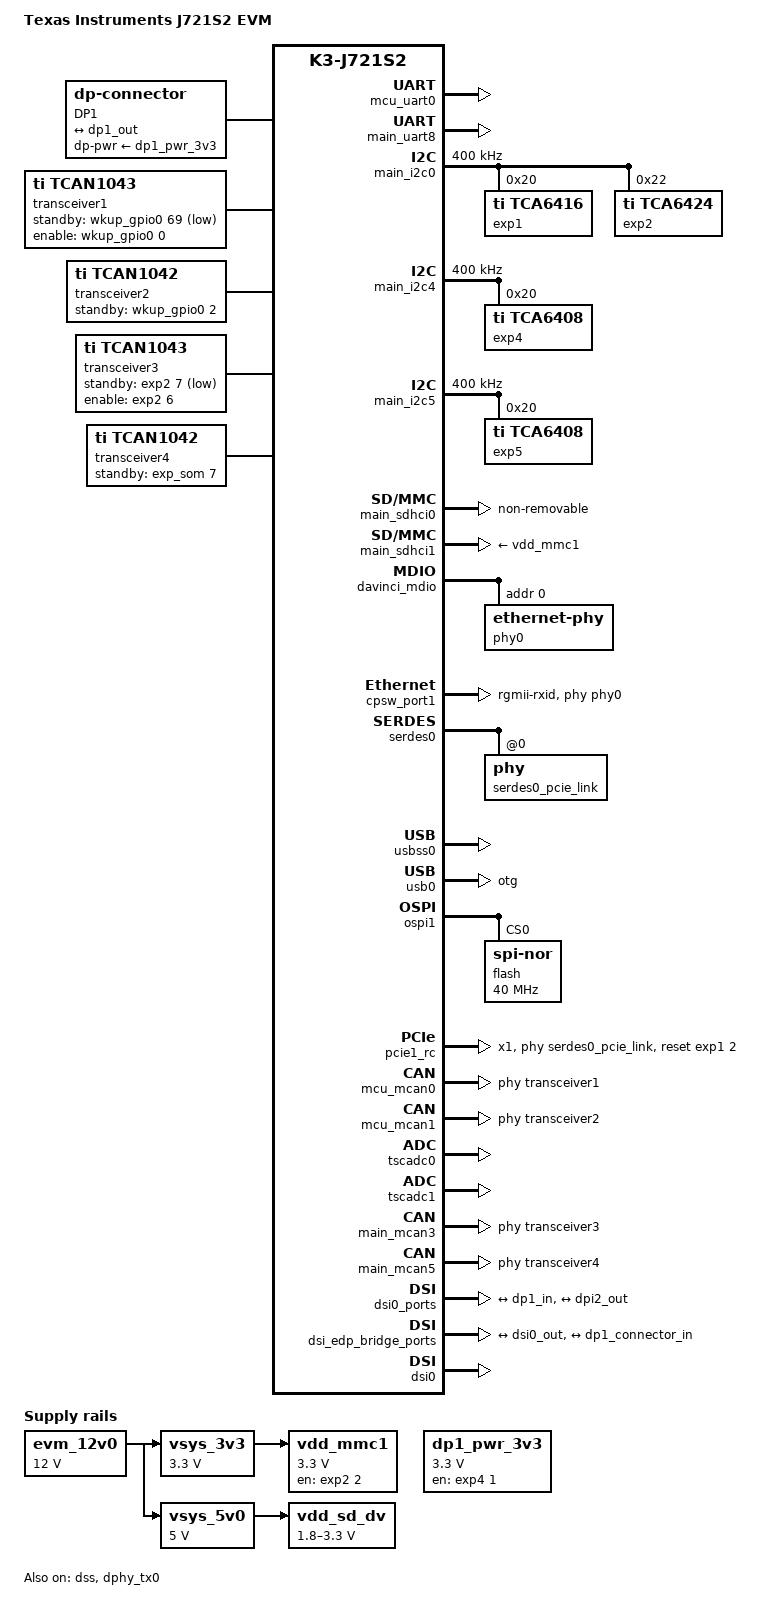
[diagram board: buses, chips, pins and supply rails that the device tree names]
// SPDX-License-Identifier: GPL-2.0-only OR MIT
/*
 * Copyright (C) 2021-2024 Texas Instruments Incorporated - https://www.ti.com/
 *
 * Common Processor Board: https://www.ti.com/tool/J721EXCPXEVM
 */

/dts-v1/;

#include "k3-j721s2-som-p0.dtsi"
#include <dt-bindings/net/ti-dp83867.h>
#include <dt-bindings/phy/phy-cadence.h>
#include <dt-bindings/phy/phy.h>

#include "k3-serdes.h"

/ {
	compatible = "ti,j721s2-evm", "ti,j721s2";
	model = "Texas Instruments J721S2 EVM";

	chosen {
		stdout-path = "serial2:115200n8";
	};

	aliases {
		serial1 = &mcu_uart0;
		serial2 = &main_uart8;
		mmc0 = &main_sdhci0;
		mmc1 = &main_sdhci1;
		can0 = &main_mcan16;
		can1 = &mcu_mcan0;
		can2 = &mcu_mcan1;
		can3 = &main_mcan3;
		can4 = &main_mcan5;
	};

	evm_12v0: fixedregulator-evm12v0 {
		/* main supply */
		compatible = "regulator-fixed";
		regulator-name = "evm_12v0";
		regulator-min-microvolt = <12000000>;
		regulator-max-microvolt = <12000000>;
		regulator-always-on;
		regulator-boot-on;
	};

	vsys_3v3: fixedregulator-vsys3v3 {
		/* Output of LM5140 */
		compatible = "regulator-fixed";
		regulator-name = "vsys_3v3";
		regulator-min-microvolt = <3300000>;
		regulator-max-microvolt = <3300000>;
		vin-supply = <&evm_12v0>;
		regulator-always-on;
		regulator-boot-on;
	};

	vsys_5v0: fixedregulator-vsys5v0 {
		/* Output of LM5140 */
		compatible = "regulator-fixed";
		regulator-name = "vsys_5v0";
		regulator-min-microvolt = <5000000>;
		regulator-max-microvolt = <5000000>;
		vin-supply = <&evm_12v0>;
		regulator-always-on;
		regulator-boot-on;
	};

	vdd_mmc1: fixedregulator-sd {
		/* Output of TPS22918 */
		compatible = "regulator-fixed";
		regulator-name = "vdd_mmc1";
		regulator-min-microvolt = <3300000>;
		regulator-max-microvolt = <3300000>;
		regulator-boot-on;
		enable-active-high;
		vin-supply = <&vsys_3v3>;
		gpio = <&exp2 2 GPIO_ACTIVE_HIGH>;
	};

	vdd_sd_dv: gpio-regulator-TLV71033 {
		/* Output of TLV71033 */
		compatible = "regulator-gpio";
		regulator-name = "tlv71033";
		pinctrl-names = "default";
		pinctrl-0 = <&vdd_sd_dv_pins_default>;
		regulator-min-microvolt = <1800000>;
		regulator-max-microvolt = <3300000>;
		regulator-boot-on;
		vin-supply = <&vsys_5v0>;
		gpios = <&main_gpio0 8 GPIO_ACTIVE_HIGH>;
		states = <1800000 0x0>,
			 <3300000 0x1>;
	};

	dp1_pwr_3v3: regulator-dp1-prw {
		compatible = "regulator-fixed";
		regulator-name = "dp1-pwr";
		regulator-min-microvolt = <3300000>;
		regulator-max-microvolt = <3300000>;
		gpio = <&exp4 1 GPIO_ACTIVE_HIGH>; /* P1 - DP1_PWR_SW_EN */
		enable-active-high;
	};

	dp1: connector-dp1 {
		compatible = "dp-connector";
		label = "DP1";
		type = "full-size";
		dp-pwr-supply = <&dp1_pwr_3v3>;

		port {
			dp1_connector_in: endpoint {
				remote-endpoint = <&dp1_out>;
			};
		};
	};

	transceiver1: can-phy1 {
		compatible = "ti,tcan1043";
		#phy-cells = <0>;
		max-bitrate = <5000000>;
		pinctrl-names = "default";
		pinctrl-0 = <&mcu_mcan0_gpio_pins_default>;
		standby-gpios = <&wkup_gpio0 69 GPIO_ACTIVE_LOW>;
		enable-gpios = <&wkup_gpio0 0 GPIO_ACTIVE_HIGH>;
	};

	transceiver2: can-phy2 {
		compatible = "ti,tcan1042";
		#phy-cells = <0>;
		max-bitrate = <5000000>;
		pinctrl-names = "default";
		pinctrl-0 = <&mcu_mcan1_gpio_pins_default>;
		standby-gpios = <&wkup_gpio0 2 GPIO_ACTIVE_HIGH>;
	};

	transceiver3: can-phy3 {
		compatible = "ti,tcan1043";
		#phy-cells = <0>;
		max-bitrate = <5000000>;
		standby-gpios = <&exp2 7 GPIO_ACTIVE_LOW>;
		enable-gpios = <&exp2 6 GPIO_ACTIVE_HIGH>;
		mux-states = <&mux0 1>;
	};

	transceiver4: can-phy4 {
		compatible = "ti,tcan1042";
		#phy-cells = <0>;
		max-bitrate = <5000000>;
		standby-gpios = <&exp_som 7 GPIO_ACTIVE_HIGH>;
		mux-states = <&mux1 1>;
	};
};

&main_pmx0 {
	main_uart8_pins_default: main-uart8-default-pins {
		pinctrl-single,pins = <
			J721S2_IOPAD(0x040, PIN_INPUT, 14) /* (AC28) MCASP0_AXR0.UART8_CTSn */
			J721S2_IOPAD(0x044, PIN_OUTPUT, 14) /* (Y26) MCASP0_AXR1.UART8_RTSn */
			J721S2_IOPAD(0x0d0, PIN_INPUT, 11) /* (AF26) SPI0_CS1.UART8_RXD */
			J721S2_IOPAD(0x0d4, PIN_OUTPUT, 11) /* (AH27) SPI0_CLK.UART8_TXD */
		>;
		bootph-all;
	};

	main_i2c3_pins_default: main-i2c3-default-pins {
		pinctrl-single,pins = <
			J721S2_IOPAD(0x064, PIN_INPUT_PULLUP, 13) /* (W28) MCAN0_TX.I2C3_SCL */
			J721S2_IOPAD(0x060, PIN_INPUT_PULLUP, 13) /* (AC27) MCASP2_AXR1.I2C3_SDA */
		>;
	};

	main_i2c4_pins_default: main-i2c4-default-pins {
		pinctrl-single,pins = <
			J721S2_IOPAD(0x014, PIN_INPUT_PULLUP, 8) /* (AD25) I2C4_SCL */
			J721S2_IOPAD(0x010, PIN_INPUT_PULLUP, 8) /* (AF28) I2C4_SDA */
		>;
	};

	main_i2c5_pins_default: main-i2c5-default-pins {
		pinctrl-single,pins = <
			J721S2_IOPAD(0x01c, PIN_INPUT, 8) /* (Y24) MCAN15_TX.I2C5_SCL */
			J721S2_IOPAD(0x018, PIN_INPUT, 8) /* (W23) MCAN14_RX.I2C5_SDA */
		>;
	};

	main_mmc1_pins_default: main-mmc1-default-pins {
		pinctrl-single,pins = <
			J721S2_IOPAD(0x104, PIN_INPUT, 0) /* (P23) MMC1_CLK */
			J721S2_IOPAD(0x108, PIN_INPUT, 0) /* (N24) MMC1_CMD */
			J721S2_IOPAD(0x100, PIN_INPUT, 0) /* (###) MMC1_CLKLB */
			J721S2_IOPAD(0x0fc, PIN_INPUT, 0) /* (M23) MMC1_DAT0 */
			J721S2_IOPAD(0x0f8, PIN_INPUT, 0) /* (P24) MMC1_DAT1 */
			J721S2_IOPAD(0x0f4, PIN_INPUT, 0) /* (R24) MMC1_DAT2 */
			J721S2_IOPAD(0x0f0, PIN_INPUT, 0) /* (R22) MMC1_DAT3 */
			J721S2_IOPAD(0x0e8, PIN_INPUT, 8) /* (AE25) TIMER_IO0.MMC1_SDCD */
		>;
		bootph-all;
	};

	vdd_sd_dv_pins_default: vdd-sd-dv-default-pins {
		pinctrl-single,pins = <
			J721S2_IOPAD(0x020, PIN_INPUT, 7) /* (AA23) MCAN15_RX.GPIO0_8 */
		>;
	};

	main_usbss0_pins_default: main-usbss0-default-pins {
		pinctrl-single,pins = <
			J721S2_IOPAD(0x0ec, PIN_OUTPUT, 6) /* (AG25) TIMER_IO1.USB0_DRVVBUS */
		>;
		bootph-all;
	};

	main_mcan3_pins_default: main-mcan3-default-pins {
		pinctrl-single,pins = <
			J721S2_IOPAD(0x080, PIN_INPUT, 0) /* (U26) MCASP0_AXR4.MCAN3_RX */
			J721S2_IOPAD(0x07c, PIN_OUTPUT, 0) /* (T27) MCASP0_AXR3.MCAN3_TX */
		>;
	};

	main_mcan5_pins_default: main-mcan5-default-pins {
		pinctrl-single,pins = <
			J721S2_IOPAD(0x03c, PIN_INPUT, 0) /* (U27) MCASP0_AFSX.MCAN5_RX */
			J721S2_IOPAD(0x038, PIN_OUTPUT, 0) /* (AB28) MCASP0_ACLKX.MCAN5_TX */
		>;
	};
};

&wkup_pmx2 {
	wkup_uart0_pins_default: wkup-uart0-default-pins {
		pinctrl-single,pins = <
			J721S2_WKUP_IOPAD(0x048, PIN_INPUT, 0) /* (D28) WKUP_UART0_RXD */
			J721S2_WKUP_IOPAD(0x04c, PIN_OUTPUT, 0) /* (D27) WKUP_UART0_TXD */
		>;
		bootph-all;
	};

	mcu_uart0_pins_default: mcu-uart0-default-pins {
		pinctrl-single,pins = <
			J721S2_WKUP_IOPAD(0x090, PIN_INPUT, 0) /* (B24) WKUP_GPIO0_14.MCU_UART0_CTSn */
			J721S2_WKUP_IOPAD(0x094, PIN_OUTPUT, 0) /* (D25) WKUP_GPIO0_15.MCU_UART0_RTSn */
			J721S2_WKUP_IOPAD(0x08c, PIN_INPUT, 0) /* (C24) WKUP_GPIO0_13.MCU_UART0_RXD */
			J721S2_WKUP_IOPAD(0x088, PIN_OUTPUT, 0) /* (C25) WKUP_GPIO0_12.MCU_UART0_TXD */
		>;
		bootph-all;
	};

	mcu_cpsw_pins_default: mcu-cpsw-default-pins {
		pinctrl-single,pins = <
			J721S2_WKUP_IOPAD(0x02c, PIN_INPUT, 0) /* (B22) MCU_RGMII1_RD0 */
			J721S2_WKUP_IOPAD(0x028, PIN_INPUT, 0) /* (B21) MCU_RGMII1_RD1 */
			J721S2_WKUP_IOPAD(0x024, PIN_INPUT, 0) /* (C22) MCU_RGMII1_RD2 */
			J721S2_WKUP_IOPAD(0x020, PIN_INPUT, 0) /* (D23) MCU_RGMII1_RD3 */
			J721S2_WKUP_IOPAD(0x01c, PIN_INPUT, 0) /* (D22) MCU_RGMII1_RXC */
			J721S2_WKUP_IOPAD(0x004, PIN_INPUT, 0) /* (E23) MCU_RGMII1_RX_CTL */
			J721S2_WKUP_IOPAD(0x014, PIN_OUTPUT, 0) /* (F23) MCU_RGMII1_TD0 */
			J721S2_WKUP_IOPAD(0x010, PIN_OUTPUT, 0) /* (G22) MCU_RGMII1_TD1 */
			J721S2_WKUP_IOPAD(0x00c, PIN_OUTPUT, 0) /* (E21) MCU_RGMII1_TD2 */
			J721S2_WKUP_IOPAD(0x008, PIN_OUTPUT, 0) /* (E22) MCU_RGMII1_TD3 */
			J721S2_WKUP_IOPAD(0x018, PIN_OUTPUT, 0) /* (F21) MCU_RGMII1_TXC */
			J721S2_WKUP_IOPAD(0x000, PIN_OUTPUT, 0) /* (F22) MCU_RGMII1_TX_CTL */
		>;
	};

	mcu_mdio_pins_default: mcu-mdio-default-pins {
		pinctrl-single,pins = <
			J721S2_WKUP_IOPAD(0x034, PIN_OUTPUT, 0) /* (A21) MCU_MDIO0_MDC */
			J721S2_WKUP_IOPAD(0x030, PIN_INPUT, 0) /* (A22) MCU_MDIO0_MDIO */
		>;
	};

	mcu_mcan0_pins_default: mcu-mcan0-default-pins {
		pinctrl-single,pins = <
			J721S2_WKUP_IOPAD(0x054, PIN_INPUT, 0) /* (E28) MCU_MCAN0_RX */
			J721S2_WKUP_IOPAD(0x050, PIN_OUTPUT, 0) /* (E27) MCU_MCAN0_TX */
		>;
	};

	mcu_mcan1_pins_default: mcu-mcan1-default-pins {
		pinctrl-single,pins = <
			J721S2_WKUP_IOPAD(0x06c, PIN_INPUT, 0) /* (F26) WKUP_GPIO0_5.MCU_MCAN1_RX */
			J721S2_WKUP_IOPAD(0x068, PIN_OUTPUT, 0) /*(C23) WKUP_GPIO0_4.MCU_MCAN1_TX */
		>;
	};

	mcu_mcan0_gpio_pins_default: mcu-mcan0-gpio-default-pins {
		pinctrl-single,pins = <
			J721S2_WKUP_IOPAD(0x058, PIN_INPUT, 7) /* (D26) WKUP_GPIO0_0 */
			J721S2_WKUP_IOPAD(0x040, PIN_INPUT, 7) /* (B25) MCU_SPI0_D1.WKUP_GPIO0_69 */
		>;
	};

	mcu_mcan1_gpio_pins_default: mcu-mcan1-gpio-default-pins {
		pinctrl-single,pins = <
			J721S2_WKUP_IOPAD(0x060, PIN_INPUT, 7) /* (C28) WKUP_GPIO0_2 */
		>;
	};

	mcu_adc0_pins_default: mcu-adc0-default-pins {
		pinctrl-single,pins = <
			J721S2_WKUP_IOPAD(0x0cc, PIN_INPUT, 0) /* (L25) MCU_ADC0_AIN0 */
			J721S2_WKUP_IOPAD(0x0d0, PIN_INPUT, 0) /* (K25) MCU_ADC0_AIN1 */
			J721S2_WKUP_IOPAD(0x0d4, PIN_INPUT, 0) /* (M24) MCU_ADC0_AIN2 */
			J721S2_WKUP_IOPAD(0x0d8, PIN_INPUT, 0) /* (L24) MCU_ADC0_AIN3 */
			J721S2_WKUP_IOPAD(0x0dc, PIN_INPUT, 0) /* (L27) MCU_ADC0_AIN4 */
			J721S2_WKUP_IOPAD(0x0e0, PIN_INPUT, 0) /* (K24) MCU_ADC0_AIN5 */
			J721S2_WKUP_IOPAD(0x0e4, PIN_INPUT, 0) /* (M27) MCU_ADC0_AIN6 */
			J721S2_WKUP_IOPAD(0x0e8, PIN_INPUT, 0) /* (M26) MCU_ADC0_AIN7 */
		>;
	};

	mcu_adc1_pins_default: mcu-adc1-default-pins {
		pinctrl-single,pins = <
			J721S2_WKUP_IOPAD(0x0ec, PIN_INPUT, 0) /* (P25) MCU_ADC1_AIN0 */
			J721S2_WKUP_IOPAD(0x0f0, PIN_INPUT, 0) /* (R25) MCU_ADC1_AIN1 */
			J721S2_WKUP_IOPAD(0x0f4, PIN_INPUT, 0) /* (P28) MCU_ADC1_AIN2 */
			J721S2_WKUP_IOPAD(0x0f8, PIN_INPUT, 0) /* (P27) MCU_ADC1_AIN3 */
			J721S2_WKUP_IOPAD(0x0fc, PIN_INPUT, 0) /* (N25) MCU_ADC1_AIN4 */
			J721S2_WKUP_IOPAD(0x100, PIN_INPUT, 0) /* (P26) MCU_ADC1_AIN5 */
			J721S2_WKUP_IOPAD(0x104, PIN_INPUT, 0) /* (N26) MCU_ADC1_AIN6 */
			J721S2_WKUP_IOPAD(0x108, PIN_INPUT, 0) /* (N27) MCU_ADC1_AIN7 */
		>;
	};
};

&wkup_pmx1 {
	mcu_fss0_ospi1_pins_default: mcu-fss0-ospi1-default-pins {
		pinctrl-single,pins = <
			J721S2_WKUP_IOPAD(0x008, PIN_OUTPUT, 0) /* (A19) MCU_OSPI1_CLK */
			J721S2_WKUP_IOPAD(0x024, PIN_OUTPUT, 0) /* (D20) MCU_OSPI1_CSn0 */
			J721S2_WKUP_IOPAD(0x014, PIN_INPUT, 0) /* (D21) MCU_OSPI1_D0 */
			J721S2_WKUP_IOPAD(0x018, PIN_INPUT, 0) /* (G20) MCU_OSPI1_D1 */
			J721S2_WKUP_IOPAD(0x01c, PIN_INPUT, 0) /* (C20) MCU_OSPI1_D2 */
			J721S2_WKUP_IOPAD(0x020, PIN_INPUT, 0) /* (A20) MCU_OSPI1_D3 */
			J721S2_WKUP_IOPAD(0x010, PIN_INPUT, 0) /* (B19) MCU_OSPI1_DQS */
			J721S2_WKUP_IOPAD(0x00c, PIN_INPUT, 0) /* (B20) MCU_OSPI1_LBCLKO */
		>;
		bootph-all;
	};
};

&main_gpio0 {
	status = "okay";
};

&wkup_gpio0 {
	status = "okay";
};

&wkup_uart0 {
	status = "reserved";
	pinctrl-names = "default";
	pinctrl-0 = <&wkup_uart0_pins_default>;
	bootph-all;
};

&mcu_uart0 {
	status = "okay";
	pinctrl-names = "default";
	pinctrl-0 = <&mcu_uart0_pins_default>;
	bootph-all;
};

&main_uart8 {
	status = "okay";
	pinctrl-names = "default";
	pinctrl-0 = <&main_uart8_pins_default>;
	/* Shared with TFA on this platform */
	power-domains = <&k3_pds 357 TI_SCI_PD_SHARED>;
	bootph-all;
};

&main_i2c0 {
	clock-frequency = <400000>;

	exp1: gpio@20 {
		compatible = "ti,tca6416";
		reg = <0x20>;
		gpio-controller;
		#gpio-cells = <2>;
		gpio-line-names = "PCIE_2L_MODE_SEL", "PCIE_2L_PERSTZ", "PCIE_2L_RC_RSTZ",
				  "PCIE_2L_EP_RST_EN", "PCIE_1L_MODE_SEL", "PCIE_1L_PERSTZ",
				  "PCIE_1L_RC_RSTZ", "PCIE_1L_EP_RST_EN", "PCIE_2L_PRSNT#",
				  "PCIE_1L_PRSNT#", "CDCI1_OE1/OE4", "CDCI1_OE2/OE3", "EXP_MUX1",
				  "EXP_MUX2", "EXP_MUX3", "GESI_EXP_PHY_RSTz";
	};

	exp2: gpio@22 {
		compatible = "ti,tca6424";
		reg = <0x22>;
		gpio-controller;
		#gpio-cells = <2>;
		gpio-line-names = "APPLE_AUTH_RSTZ", "MLB_RSTZ", "GPIO_USD_PWR_EN", "USBC_PWR_EN",
				  "USBC_MODE_SEL1", "USBC_MODE_SEL0", "MCAN0_EN", "MCAN0_STB#",
				  "MUX_SPAREMUX_SPARE", "MCASP/TRACE_MUX_S0", "MCASP/TRACE_MUX_S1",
				  "MLB_MUX_SEL", "MCAN_MUX_SEL", "MCASP2/SPI3_MUX_SEL", "PCIe_CLKREQn_MUX_SEL",
				  "CDCI2_RSTZ", "ENET_EXP_PWRDN", "ENET_EXP_RESETZ", "ENET_I2CMUX_SEL",
				  "ENET_EXP_SPARE2", "M2PCIE_RTSZ", "USER_INPUT1", "USER_LED1", "USER_LED2";
	};
};

&main_i2c4 {
	status = "okay";
	pinctrl-names = "default";
	pinctrl-0 = <&main_i2c4_pins_default>;
	clock-frequency = <400000>;

	exp4: gpio@20 {
		compatible = "ti,tca6408";
		reg = <0x20>;
		gpio-controller;
		#gpio-cells = <2>;
		gpio-line-names = "DP0_PWR_SW_EN", "DP1_PWR_SW_EN", "UB981_PDB",
				  "UB981_GPIO0", "UB981_GPIO1", "UB981_GPIO2",
				  "UB981_GPIO3", "PWR_SW_CNTL_DSI0#";
	};
};

&main_i2c5 {
	pinctrl-names = "default";
	pinctrl-0 = <&main_i2c5_pins_default>;
	clock-frequency = <400000>;
	status = "okay";

	exp5: gpio@20 {
		compatible = "ti,tca6408";
		reg = <0x20>;
		gpio-controller;
		#gpio-cells = <2>;
		gpio-line-names = "CSI2_EXP_RSTZ", "CSI2_EXP_A_GPIO0",
				  "CSI2_EXP_A_GPIO1", "CSI2_EXP_A_GPIO2",
				  "CSI2_EXP_B_GPIO1", "CSI2_EXP_B_GPIO2",
				  "CSI2_EXP_B_GPIO3", "CSI2_EXP_B_GPIO4";
	};
};

&main_sdhci0 {
	/* eMMC */
	status = "okay";
	non-removable;
	bootph-all;
	ti,driver-strength-ohm = <50>;
	disable-wp;
};

&main_sdhci1 {
	/* SD card */
	status = "okay";
	pinctrl-0 = <&main_mmc1_pins_default>;
	pinctrl-names = "default";
	disable-wp;
	vmmc-supply = <&vdd_mmc1>;
	vqmmc-supply = <&vdd_sd_dv>;
	bootph-all;
};

&mcu_cpsw {
	pinctrl-names = "default";
	pinctrl-0 = <&mcu_cpsw_pins_default>, <&mcu_mdio_pins_default>;
};

&davinci_mdio {
	phy0: ethernet-phy@0 {
		reg = <0>;
		ti,rx-internal-delay = <DP83867_RGMIIDCTL_2_00_NS>;
		ti,fifo-depth = <DP83867_PHYCR_FIFO_DEPTH_4_B_NIB>;
		ti,min-output-impedance;
	};
};

&cpsw_port1 {
	phy-mode = "rgmii-rxid";
	phy-handle = <&phy0>;
};

&serdes_ln_ctrl {
	idle-states = <J721S2_SERDES0_LANE0_PCIE1_LANE0>, <J721S2_SERDES0_LANE1_USB>,
		      <J721S2_SERDES0_LANE2_EDP_LANE2>, <J721S2_SERDES0_LANE3_EDP_LANE3>;
};

&serdes_refclk {
	clock-frequency = <100000000>;
};

&serdes0 {
	status = "okay";
	serdes0_pcie_link: phy@0 {
		reg = <0>;
		cdns,num-lanes = <1>;
		#phy-cells = <0>;
		cdns,phy-type = <PHY_TYPE_PCIE>;
		resets = <&serdes_wiz0 1>;
	};
};

&usb_serdes_mux {
	idle-states = <1>; /* USB0 to SERDES lane 1 */
};

&usbss0 {
	status = "okay";
	pinctrl-0 = <&main_usbss0_pins_default>;
	pinctrl-names = "default";
	bootph-all;
	ti,vbus-divider;
	ti,usb2-only;
};

&usb0 {
	dr_mode = "otg";
	maximum-speed = "high-speed";
	bootph-all;
};

&ospi1 {
	status = "okay";
	pinctrl-names = "default";
	pinctrl-0 = <&mcu_fss0_ospi1_pins_default>;

	flash@0 {
		compatible = "jedec,spi-nor";
		reg = <0x0>;
		spi-tx-bus-width = <1>;
		spi-rx-bus-width = <4>;
		spi-max-frequency = <40000000>;
		bootph-all;
		cdns,tshsl-ns = <60>;
		cdns,tsd2d-ns = <60>;
		cdns,tchsh-ns = <60>;
		cdns,tslch-ns = <60>;
		cdns,read-delay = <2>;
	};
};

&pcie1_rc {
	status = "okay";
	reset-gpios = <&exp1 2 GPIO_ACTIVE_HIGH>;
	phys = <&serdes0_pcie_link>;
	phy-names = "pcie-phy";
	num-lanes = <1>;
};

&mcu_mcan0 {
	status = "okay";
	pinctrl-names = "default";
	pinctrl-0 = <&mcu_mcan0_pins_default>;
	phys = <&transceiver1>;
};

&mcu_mcan1 {
	status = "okay";
	pinctrl-names = "default";
	pinctrl-0 = <&mcu_mcan1_pins_default>;
	phys = <&transceiver2>;
};

&tscadc0 {
	pinctrl-0 = <&mcu_adc0_pins_default>;
	pinctrl-names = "default";
	status = "okay";
	adc {
		ti,adc-channels = <0 1 2 3 4 5 6 7>;
	};
};

&tscadc1 {
	pinctrl-0 = <&mcu_adc1_pins_default>;
	pinctrl-names = "default";
	status = "okay";
	adc {
		ti,adc-channels = <0 1 2 3 4 5 6 7>;
	};
};

&main_mcan3 {
	status = "okay";
	pinctrl-names = "default";
	pinctrl-0 = <&main_mcan3_pins_default>;
	phys = <&transceiver3>;
};

&main_mcan5 {
	status = "okay";
	pinctrl-names = "default";
	pinctrl-0 = <&main_mcan5_pins_default>;
	phys = <&transceiver4>;
};

&dss {
	/*
	 * DSS on J721S2-EVM supports DP on VP0 and DSI on VP2.
	 * These clock assignments are chosen to enable the following outputs:
	 * VP0 - DisplayPort SST
	 * VP2 - DSI
	 */
	status = "okay";
	assigned-clocks = <&k3_clks 158 2>,
			  <&k3_clks 158 14>;
	assigned-clock-parents = <&k3_clks 158 3>,
				 <&k3_clks 158 16>;
};

&dss_ports {
	#address-cells = <1>;
	#size-cells = <0>;

	port@2 {
		reg = <2>;

		dpi2_out: endpoint {
			remote-endpoint = <&dsi0_in>;
		};
	};
};

&dsi0_ports {
	port@0 {
		reg = <0>;

		dsi0_out: endpoint {
			remote-endpoint = <&dp1_in>;
		};
	};

	port@1 {
		reg = <1>;

		dsi0_in: endpoint {
			remote-endpoint = <&dpi2_out>;
		};
	};
};

&dsi_edp_bridge_ports {
	port@0 {
		reg = <0>;

		dp1_in: endpoint {
			remote-endpoint = <&dsi0_out>;
		};
	};

	port@1 {
		reg = <1>;

		dp1_out: endpoint {
			remote-endpoint = <&dp1_connector_in>;
		};
	};
};

&dphy_tx0 {
	status = "okay";
};

&dsi0 {
	status = "okay";
};
